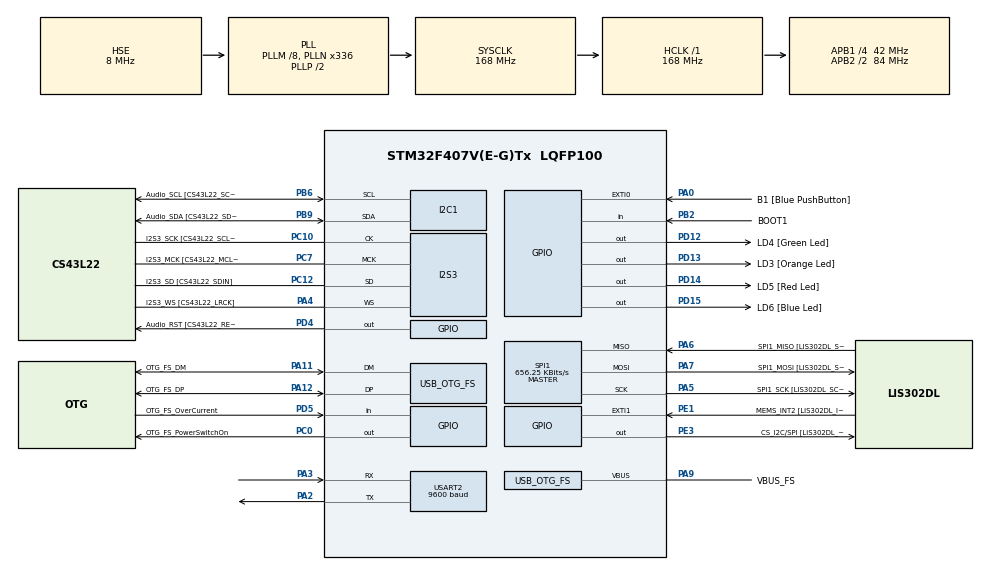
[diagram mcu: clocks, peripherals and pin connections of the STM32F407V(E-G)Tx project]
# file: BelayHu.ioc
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I2C1.OwnAddress=0
I2S3.AudioFreq-Half_Duplex_Master=I2S_AUDIOFREQ_96K
I2S3.ErrorAudioFreq=-2.34 %
I2S3.ErrorAudioFreq-Half_Duplex_Master=0.8 %
I2S3.FullDuplexMode=I2S_FULLDUPLEXMODE_DISABLE
I2S3.Instance=SPI$Index
I2S3.RealAudioFreq=93.75 KHz
I2S3.RealAudioFreq-Half_Duplex_Master=96.774 KHz
I2S3.VirtualMode=I2S_MODE_MASTER
Mcu.Family=STM32F4
Mcu.Name=STM32F407V(E-G)Tx
Mcu.Package=LQFP100
NVIC.OTG_FS_IRQn=true\:0\:0\:false\:false\:true\:true\:true
NVIC.PriorityGroup=NVIC_PRIORITYGROUP_0
PA0-WKUP.GPIO_Label=B1 [Blue PushButton]
PA0-WKUP.GPIO_ModeDefaultEXTI=GPIO_MODE_EVT_RISING
PA0-WKUP.GPIO_PuPd=GPIO_NOPULL
PA0-WKUP.Signal=GPXTI0
PA10.GPIO_Label=OTG_FS_ID
PA10.GPIO_Mode=GPIO_MODE_AF_PP
PA10.GPIO_PuPd=GPIO_NOPULL
PA10.GPIO_Speed=GPIO_SPEED_FREQ_LOW
PA10.Signal=USB_OTG_FS_ID
PA11.GPIO_Label=OTG_FS_DM
PA11.GPIO_Mode=GPIO_MODE_AF_PP
PA11.GPIO_PuPd=GPIO_NOPULL
PA11.GPIO_Speed=GPIO_SPEED_FREQ_LOW
PA11.Mode=Host_Only
PA11.Signal=USB_OTG_FS_DM
PA12.GPIO_Label=OTG_FS_DP
PA12.GPIO_Mode=GPIO_MODE_AF_PP
PA12.GPIO_PuPd=GPIO_NOPULL
PA12.GPIO_Speed=GPIO_SPEED_FREQ_LOW
PA12.Mode=Host_Only
PA12.Signal=USB_OTG_FS_DP
PA13.GPIO_Label=SWDIO
PA13.Mode=Serial_Wire
PA13.Signal=SYS_JTMS-SWDIO
PA14.GPIO_Label=SWCLK
PA14.Mode=Serial_Wire
PA14.Signal=SYS_JTCK-SWCLK
PA2.Mode=Asynchronous
PA2.Signal=USART2_TX
PA3.Mode=Asynchronous
PA3.Signal=USART2_RX
PA4.GPIO_Label=I2S3_WS [CS43L22_LRCK]
PA4.GPIO_Mode=GPIO_MODE_AF_PP
PA4.GPIO_PuPd=GPIO_NOPULL
PA4.GPIO_Speed=GPIO_SPEED_FREQ_LOW
PA4.Mode=Half_Duplex_Master
PA4.Signal=I2S3_WS
PA5.GPIO_Label=SPI1_SCK [LIS302DL_SCL/SPC]
PA5.GPIO_Mode=GPIO_MODE_AF_PP
PA5.GPIO_PuPd=GPIO_NOPULL
PA5.GPIO_Speed=GPIO_SPEED_FREQ_LOW
PA5.Mode=Full_Duplex_Master
PA5.Signal=SPI1_SCK
PA6.GPIO_Label=SPI1_MISO [LIS302DL_SDO]
PA6.GPIO_Mode=GPIO_MODE_AF_PP
PA6.GPIO_PuPd=GPIO_NOPULL
PA6.GPIO_Speed=GPIO_SPEED_FREQ_LOW
PA6.Mode=Full_Duplex_Master
PA6.Signal=SPI1_MISO
PA7.GPIO_Label=SPI1_MOSI [LIS302DL_SDA/SDI/SDO]
PA7.GPIO_Mode=GPIO_MODE_AF_PP
PA7.GPIO_PuPd=GPIO_NOPULL
PA7.GPIO_Speed=GPIO_SPEED_FREQ_LOW
PA7.Mode=Full_Duplex_Master
PA7.Signal=SPI1_MOSI
PA9.GPIO_Label=VBUS_FS
PA9.GPIO_Mode=GPIO_MODE_INPUT
PA9.GPIO_PuPd=GPIO_NOPULL
PA9.Mode=Activate_VBUS
PA9.Signal=USB_OTG_FS_VBUS
PB10.GPIO_Label=CLK_IN [MP45DT02_CLK]
PB10.GPIO_Mode=GPIO_MODE_AF_PP
PB10.GPIO_PuPd=GPIO_NOPULL
PB10.GPIO_Speed=GPIO_SPEED_FREQ_LOW
PB10.Signal=I2S2_CK
PB2.GPIO_Label=BOOT1
PB2.GPIO_Mode=GPIO_MODE_INPUT
PB2.GPIO_PuPd=GPIO_NOPULL
PB2.Signal=GPIO_Input
PB3.GPIO_Label=SWO
PB3.Signal=SYS_JTDO-SWO
PB6.GPIO_Label=Audio_SCL [CS43L22_SCL]
PB6.GPIO_Mode=GPIO_MODE_AF_OD
PB6.GPIO_PuPd=GPIO_NOPULL
PB6.GPIO_PuPdOD=GPIO_PULLUP
PB6.GPIO_Speed=GPIO_SPEED_FREQ_LOW
PB6.Mode=I2C
PB6.Signal=I2C1_SCL
PB9.GPIO_Label=Audio_SDA [CS43L22_SDA]
PB9.GPIO_Mode=GPIO_MODE_AF_OD
PB9.GPIO_PuPd=GPIO_NOPULL
PB9.GPIO_PuPdOD=GPIO_PULLUP
PB9.GPIO_Speed=GPIO_SPEED_FREQ_LOW
PB9.Mode=I2C
PB9.Signal=I2C1_SDA
PC0.GPIO_Label=OTG_FS_PowerSwitchOn
PC0.GPIO_PuPd=GPIO_NOPULL
PC0.GPIO_Speed=GPIO_SPEED_FREQ_LOW
PC0.PinState=GPIO_PIN_SET
PC0.Signal=GPIO_Output
PC10.GPIO_Label=I2S3_SCK [CS43L22_SCLK]
PC10.GPIO_Mode=GPIO_MODE_AF_PP
PC10.GPIO_PuPd=GPIO_NOPULL
PC10.GPIO_Speed=GPIO_SPEED_FREQ_LOW
PC10.Mode=Half_Duplex_Master
PC10.Signal=I2S3_CK
PC12.GPIO_Label=I2S3_SD [CS43L22_SDIN]
PC12.GPIO_Mode=GPIO_MODE_AF_PP
PC12.GPIO_PuPd=GPIO_NOPULL
PC12.GPIO_Speed=GPIO_SPEED_FREQ_LOW
PC12.Mode=Half_Duplex_Master
PC12.Signal=I2S3_SD
PC14-OSC32_IN.GPIO_Label=PC14-OSC32_IN
PC14-OSC32_IN.Mode=LSE-External-Oscillator
PC14-OSC32_IN.Signal=RCC_OSC32_IN
PC15-OSC32_OUT.GPIO_Label=PC15-OSC32_OUT
PC15-OSC32_OUT.Mode=LSE-External-Oscillator
PC15-OSC32_OUT.Signal=RCC_OSC32_OUT
PC3.GPIO_Label=PDM_OUT [MP45DT02_DOUT]
PC3.GPIO_Mode=GPIO_MODE_AF_PP
PC3.GPIO_PuPd=GPIO_NOPULL
PC3.GPIO_Speed=GPIO_SPEED_FREQ_LOW
PC3.Signal=I2S2_SD
PC7.GPIO_Label=I2S3_MCK [CS43L22_MCLK]
PC7.GPIO_Mode=GPIO_MODE_AF_PP
PC7.GPIO_PuPd=GPIO_NOPULL
PC7.GPIO_Speed=GPIO_SPEED_FREQ_LOW
PC7.Mode=Master_Clock_Activated
PC7.Signal=I2S3_MCK
PD12.GPIO_Label=LD4 [Green Led]
PD12.GPIO_PuPd=GPIO_NOPULL
PD12.GPIO_Speed=GPIO_SPEED_FREQ_LOW
PD12.Signal=GPIO_Output
PD13.GPIO_Label=LD3 [Orange Led]
PD13.GPIO_PuPd=GPIO_NOPULL
PD13.GPIO_Speed=GPIO_SPEED_FREQ_LOW
PD13.Signal=GPIO_Output
PD14.GPIO_Label=LD5 [Red Led]
PD14.GPIO_PuPd=GPIO_NOPULL
PD14.GPIO_Speed=GPIO_SPEED_FREQ_LOW
PD14.Signal=GPIO_Output
PD15.GPIO_Label=LD6 [Blue Led]
PD15.GPIO_PuPd=GPIO_NOPULL
PD15.GPIO_Speed=GPIO_SPEED_FREQ_LOW
PD15.Signal=GPIO_Output
PD4.GPIO_Label=Audio_RST [CS43L22_RESET]
PD4.GPIO_PuPd=GPIO_NOPULL
PD4.GPIO_Speed=GPIO_SPEED_FREQ_LOW
PD4.Signal=GPIO_Output
PD5.GPIO_Label=OTG_FS_OverCurrent
PD5.GPIO_Mode=GPIO_MODE_INPUT
PD5.GPIO_PuPd=GPIO_NOPULL
PD5.Signal=GPIO_Input
PE1.GPIO_Label=MEMS_INT2 [LIS302DL_INT2]
PE1.GPIO_ModeDefaultEXTI=GPIO_MODE_EVT_RISING
PE1.GPIO_PuPd=GPIO_NOPULL
PE1.Signal=GPXTI1
PE3.GPIO_Label=CS_I2C/SPI [LIS302DL_CS_I2C/SPI]
PE3.GPIO_PuPd=GPIO_NOPULL
PE3.GPIO_Speed=GPIO_SPEED_FREQ_LOW
PE3.Signal=GPIO_Output
PH0-OSC_IN.GPIO_Label=PH0-OSC_IN
PH0-OSC_IN.Mode=HSE-External-Oscillator
PH0-OSC_IN.Signal=RCC_OSC_IN
PH1-OSC_OUT.GPIO_Label=PH1-OSC_OUT
PH1-OSC_OUT.Mode=HSE-External-Oscillator
PH1-OSC_OUT.Signal=RCC_OSC_OUT
ProjectManager.HeapSize=0x200
ProjectManager.StackSize=0x400
ProjectManager.TargetToolchain=STM32CubeIDE
RCC.48MHZClocksFreq_Value=48000000
RCC.AHBFreq_Value=168000000
RCC.APB1CLKDivider=RCC_HCLK_DIV4
RCC.APB1Freq_Value=42000000
RCC.APB1TimFreq_Value=84000000
RCC.APB2CLKDivider=RCC_HCLK_DIV2
RCC.APB2Freq_Value=84000000
RCC.APB2TimFreq_Value=168000000
RCC.CortexFreq_Value=168000000
RCC.HCLKFreq_Value=168000000
RCC.HSE_VALUE=8000000
RCC.HSI_VALUE=16000000
RCC.PLLM=8
RCC.PLLN=336
RCC.PLLQ=7
RCC.SYSCLKFreq_VALUE=168000000
RCC.SYSCLKSource=RCC_SYSCLKSOURCE_PLLCLK
RCC.VCOOutputFreq_Value=336000000
SPI1.BaudRatePrescaler=SPI_BAUDRATEPRESCALER_128
SPI1.BaudRatePrescaler-Full_Duplex_Master=SPI_BAUDRATEPRESCALER_2
SPI1.CLKPhase=SPI_PHASE_1EDGE
SPI1.CLKPolarity=SPI_POLARITY_LOW
SPI1.CalculateBaudRate=656.25 KBits/s
SPI1.CalculateBaudRate-Full_Duplex_Master=42.0 MBits/s
SPI1.Direction=SPI_DIRECTION_2LINES
SPI1.Mode=SPI_MODE_MASTER
SPI1.Mode-Full_Duplex_Master=SPI_MODE_MASTER
SPI1.VirtualType=VM_MASTER
TIM14.Prescaler=8000-1
TIM6.Prescaler=8400-1
USART2.BaudRate=9600
USART2.VirtualMode=VM_ASYNC
USB_HOST.BSP.number=1
USB_HOST.USBH_HandleTypeDef-CDC_FS=hUsbHostFS
USB_HOST.VirtualModeFS=Cdc
USB_HOST0.BSP.STBoard=false
USB_HOST0.BSP.api=Unknown
USB_HOST0.BSP.i2caddr=0
USB_HOST0.BSP.i2creg=0
USB_HOST0.BSP.instance=PC0
USB_HOST0.BSP.ip=GPIO
USB_HOST0.BSP.mode=Output
USB_HOST0.BSP.name=Drive_VBUS_FS
USB_HOST0.BSP.solution=PC0
USB_OTG_FS.VirtualMode=Host_Only
USB_OTG_FS.phy_itface=HCD_PHY_EMBEDDED
VP_TIM14_VS_ClockSourceINT.Mode=Enable_Timer
VP_TIM6_VS_ClockSourceINT.Mode=Enable_Timer
VP_USB_HOST_VS_USB_HOST_CDC_FS.Mode=CDC_FS
board=STM32F407G-DISC1

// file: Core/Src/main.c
/* USER CODE BEGIN Header */

/*
 * BelayHu STM
 * Nick Righi, Jacob Gervais
 */

/**
  ******************************************************************************
  * @file           : main.c
  * @brief          : Main program body
  ******************************************************************************
  * @attention
  *
  * <h2><center>&copy; Copyright (c) 2021 STMicroelectronics.
  * All rights reserved.</center></h2>
  *
  * This software component is licensed by ST under Ultimate Liberty license
  * SLA0044, the "License"; You may not use this file except in compliance with
  * the License. You may obtain a copy of the License at:
  *                             www.st.com/SLA0044
  *
  ******************************************************************************
  */
/* USER CODE END Header */
#include "main.h"
#include "usb_host.h"

/* USER CODE BEGIN Includes */
#include <stdio.h>
#include <stdlib.h>
#include <string.h>
#include "accel_data.h"
#include "printf.h"
/* USER CODE END Includes */

I2C_HandleTypeDef hi2c1;

I2S_HandleTypeDef hi2s3;

SPI_HandleTypeDef hspi1;

TIM_HandleTypeDef htim6;
TIM_HandleTypeDef htim14;

UART_HandleTypeDef huart2;

void SystemClock_Config(void);
static void MX_GPIO_Init(void);
static void MX_I2C1_Init(void);
static void MX_I2S3_Init(void);
static void MX_SPI1_Init(void);
static void MX_USART2_UART_Init(void);
static void MX_TIM14_Init(void);
static void MX_TIM6_Init(void);
void MX_USB_HOST_Process(void);

int main(void)
{

  /* MCU Configuration--------------------------------------------------------*/

  /* Reset of all peripherals, Initializes the Flash interface and the Systick. */
  HAL_Init();

  /* Configure the system clock */
  SystemClock_Config();

  /* Initialize all configured peripherals */
  MX_GPIO_Init();
  MX_I2C1_Init();
  MX_I2S3_Init();
  MX_SPI1_Init();
  MX_USB_HOST_Init();
  MX_USART2_UART_Init();
  MX_TIM14_Init();
  MX_TIM6_Init();
  /* USER CODE BEGIN 2 */

  HAL_TIM_Base_Start(&htim14);
  HAL_TIM_Base_Start(&htim6);

  struct accel_data data, data2;
  accel_setup(&hspi1, &htim6);

  uint16_t timeStart;
  uint16_t currTime = 0;
  int notSent = 1;

  struct packet data_packet;
  data_packet.header[0] = 0x01;
  data_packet.header[1] = 0x02;

  HAL_GPIO_WritePin(GPIOD, GPIO_PIN_14, GPIO_PIN_RESET);

  /* USER CODE END 2 */

  /* Infinite loop */
  /* USER CODE BEGIN WHILE */
  while (1)
  {
	  // read from on-board accelerometer
	  read_accel_data(&hspi1, &data);

	  // read from GY-521 Module
	  read_data_i2c(&hi2c1, &data2);

	  // average the accelerometer data and get elapsed time
	  data_packet.accel_data = (int16_t) (data.y_data + data2.y_data) / 2;
	  data_packet.time_stamp = get_elapsed_time(&htim6);

	  HAL_UART_Transmit(&huart2, (uint8_t *)&data_packet, sizeof(data_packet), 50);

	  HAL_Delay(10);

	  // Button press Code
	  if (HAL_GPIO_ReadPin(GPIOA, GPIO_PIN_0) == 1) { // if button is pressed set time elapsed
		  currTime = __HAL_TIM_GET_COUNTER(&htim14) - timeStart;
	  }else{
		  timeStart = __HAL_TIM_GET_COUNTER(&htim14); // reset start time
		  currTime = 0;
		  notSent = 1;
		  HAL_GPIO_WritePin(GPIOD, GPIO_PIN_14, GPIO_PIN_RESET); // turn off light
	  }
	  if (currTime > 20000 && notSent) {
		  notSent = 0;
		  struct packet button_packet;
		  button_packet.header[0] = 0x01;
		  button_packet.header[1] = 0x01;
		  button_packet.accel_data   = 0xFF;
		  button_packet.time_stamp = 10;
		  char button_buffer [sizeof(button_packet)];                            // Create a char buffer of right size
		  memcpy(button_buffer, &button_packet, sizeof(button_packet));          // Copy and convert the data
		  HAL_UART_Transmit(&huart2, (uint8_t *)button_buffer, sizeof(button_buffer), 50);
		  HAL_GPIO_WritePin(GPIOD, GPIO_PIN_14, GPIO_PIN_SET);
		  HAL_Delay(10);
	  }

  }
    /* USER CODE END WHILE */
  MX_USB_HOST_Process();

}

void SystemClock_Config(void)
{
  RCC_OscInitTypeDef RCC_OscInitStruct = {0};
  RCC_ClkInitTypeDef RCC_ClkInitStruct = {0};
  RCC_PeriphCLKInitTypeDef PeriphClkInitStruct = {0};

  /** Configure the main internal regulator output voltage
  */
  __HAL_RCC_PWR_CLK_ENABLE();
  __HAL_PWR_VOLTAGESCALING_CONFIG(PWR_REGULATOR_VOLTAGE_SCALE1);
  /** Initializes the RCC Oscillators according to the specified parameters
  * in the RCC_OscInitTypeDef structure.
  */
  RCC_OscInitStruct.OscillatorType = RCC_OSCILLATORTYPE_HSE;
  RCC_OscInitStruct.HSEState = RCC_HSE_ON;
  RCC_OscInitStruct.PLL.PLLState = RCC_PLL_ON;
  RCC_OscInitStruct.PLL.PLLSource = RCC_PLLSOURCE_HSE;
  RCC_OscInitStruct.PLL.PLLM = 8;
  RCC_OscInitStruct.PLL.PLLN = 336;
  RCC_OscInitStruct.PLL.PLLP = RCC_PLLP_DIV2;
  RCC_OscInitStruct.PLL.PLLQ = 7;
  if (HAL_RCC_OscConfig(&RCC_OscInitStruct) != HAL_OK)
  {
    Error_Handler();
  }
  /** Initializes the CPU, AHB and APB buses clocks
  */
  RCC_ClkInitStruct.ClockType = RCC_CLOCKTYPE_HCLK|RCC_CLOCKTYPE_SYSCLK
                              |RCC_CLOCKTYPE_PCLK1|RCC_CLOCKTYPE_PCLK2;
  RCC_ClkInitStruct.SYSCLKSource = RCC_SYSCLKSOURCE_PLLCLK;
  RCC_ClkInitStruct.AHBCLKDivider = RCC_SYSCLK_DIV1;
  RCC_ClkInitStruct.APB1CLKDivider = RCC_HCLK_DIV4;
  RCC_ClkInitStruct.APB2CLKDivider = RCC_HCLK_DIV2;

  if (HAL_RCC_ClockConfig(&RCC_ClkInitStruct, FLASH_LATENCY_5) != HAL_OK)
  {
    Error_Handler();
  }
  PeriphClkInitStruct.PeriphClockSelection = RCC_PERIPHCLK_I2S;
  PeriphClkInitStruct.PLLI2S.PLLI2SN = 192;
  PeriphClkInitStruct.PLLI2S.PLLI2SR = 2;
  if (HAL_RCCEx_PeriphCLKConfig(&PeriphClkInitStruct) != HAL_OK)
  {
    Error_Handler();
  }
}

static void MX_I2C1_Init(void)
{

  hi2c1.Instance = I2C1;
  hi2c1.Init.ClockSpeed = 100000;
  hi2c1.Init.DutyCycle = I2C_DUTYCYCLE_2;
  hi2c1.Init.OwnAddress1 = 0;
  hi2c1.Init.AddressingMode = I2C_ADDRESSINGMODE_7BIT;
  hi2c1.Init.DualAddressMode = I2C_DUALADDRESS_DISABLE;
  hi2c1.Init.OwnAddress2 = 0;
  hi2c1.Init.GeneralCallMode = I2C_GENERALCALL_DISABLE;
  hi2c1.Init.NoStretchMode = I2C_NOSTRETCH_DISABLE;
  if (HAL_I2C_Init(&hi2c1) != HAL_OK)
  {
    Error_Handler();
  }

}

static void MX_I2S3_Init(void)
{

  hi2s3.Instance = SPI3;
  hi2s3.Init.Mode = I2S_MODE_MASTER_TX;
  hi2s3.Init.Standard = I2S_STANDARD_PHILIPS;
  hi2s3.Init.DataFormat = I2S_DATAFORMAT_16B;
  hi2s3.Init.MCLKOutput = I2S_MCLKOUTPUT_ENABLE;
  hi2s3.Init.AudioFreq = I2S_AUDIOFREQ_96K;
  hi2s3.Init.CPOL = I2S_CPOL_LOW;
  hi2s3.Init.ClockSource = I2S_CLOCK_PLL;
  hi2s3.Init.FullDuplexMode = I2S_FULLDUPLEXMODE_DISABLE;
  if (HAL_I2S_Init(&hi2s3) != HAL_OK)
  {
    Error_Handler();
  }

}

static void MX_SPI1_Init(void)
{

  /* SPI1 parameter configuration*/
  hspi1.Instance = SPI1;
  hspi1.Init.Mode = SPI_MODE_MASTER;
  hspi1.Init.Direction = SPI_DIRECTION_2LINES;
  hspi1.Init.DataSize = SPI_DATASIZE_8BIT;
  hspi1.Init.CLKPolarity = SPI_POLARITY_LOW;
  hspi1.Init.CLKPhase = SPI_PHASE_1EDGE;
  hspi1.Init.NSS = SPI_NSS_SOFT;
  hspi1.Init.BaudRatePrescaler = SPI_BAUDRATEPRESCALER_128;
  hspi1.Init.FirstBit = SPI_FIRSTBIT_MSB;
  hspi1.Init.TIMode = SPI_TIMODE_DISABLE;
  hspi1.Init.CRCCalculation = SPI_CRCCALCULATION_DISABLE;
  hspi1.Init.CRCPolynomial = 10;
  if (HAL_SPI_Init(&hspi1) != HAL_OK)
  {
    Error_Handler();
  }

}

static void MX_TIM6_Init(void)
{

  TIM_MasterConfigTypeDef sMasterConfig = {0};

  htim6.Instance = TIM6;
  htim6.Init.Prescaler = 8400-1;
  htim6.Init.CounterMode = TIM_COUNTERMODE_UP;
  htim6.Init.Period = 65535;
  htim6.Init.AutoReloadPreload = TIM_AUTORELOAD_PRELOAD_DISABLE;
  if (HAL_TIM_Base_Init(&htim6) != HAL_OK)
  {
    Error_Handler();
  }
  sMasterConfig.MasterOutputTrigger = TIM_TRGO_RESET;
  sMasterConfig.MasterSlaveMode = TIM_MASTERSLAVEMODE_DISABLE;
  if (HAL_TIMEx_MasterConfigSynchronization(&htim6, &sMasterConfig) != HAL_OK)
  {
    Error_Handler();
  }

}

static void MX_TIM14_Init(void)
{

  htim14.Instance = TIM14;
  htim14.Init.Prescaler = 8000-1;
  htim14.Init.CounterMode = TIM_COUNTERMODE_UP;
  htim14.Init.Period = 65535;
  htim14.Init.ClockDivision = TIM_CLOCKDIVISION_DIV1;
  htim14.Init.AutoReloadPreload = TIM_AUTORELOAD_PRELOAD_DISABLE;
  if (HAL_TIM_Base_Init(&htim14) != HAL_OK)
  {
    Error_Handler();
  }

}

static void MX_USART2_UART_Init(void)
{

  huart2.Instance = USART2;
  huart2.Init.BaudRate = 9600;
  huart2.Init.WordLength = UART_WORDLENGTH_8B;
  huart2.Init.StopBits = UART_STOPBITS_1;
  huart2.Init.Parity = UART_PARITY_NONE;
  huart2.Init.Mode = UART_MODE_TX_RX;
  huart2.Init.HwFlowCtl = UART_HWCONTROL_NONE;
  huart2.Init.OverSampling = UART_OVERSAMPLING_16;
  if (HAL_UART_Init(&huart2) != HAL_OK)
  {
    Error_Handler();
  }

}

static void MX_GPIO_Init(void)
{
  GPIO_InitTypeDef GPIO_InitStruct = {0};

  /* GPIO Ports Clock Enable */
  __HAL_RCC_GPIOE_CLK_ENABLE();
  __HAL_RCC_GPIOC_CLK_ENABLE();
  __HAL_RCC_GPIOH_CLK_ENABLE();
  __HAL_RCC_GPIOA_CLK_ENABLE();
  __HAL_RCC_GPIOB_CLK_ENABLE();
  __HAL_RCC_GPIOD_CLK_ENABLE();

  /*Configure GPIO pin Output Level */
  HAL_GPIO_WritePin(CS_I2C_SPI_GPIO_Port, CS_I2C_SPI_Pin, GPIO_PIN_RESET);

  /*Configure GPIO pin Output Level */
  HAL_GPIO_WritePin(OTG_FS_PowerSwitchOn_GPIO_Port, OTG_FS_PowerSwitchOn_Pin, GPIO_PIN_SET);

  /*Configure GPIO pin Output Level */
  HAL_GPIO_WritePin(GPIOD, LD4_Pin|LD3_Pin|LD5_Pin|LD6_Pin
                          |Audio_RST_Pin, GPIO_PIN_RESET);

  /*Configure GPIO pin : CS_I2C_SPI_Pin */
  GPIO_InitStruct.Pin = CS_I2C_SPI_Pin;
  GPIO_InitStruct.Mode = GPIO_MODE_OUTPUT_PP;
  GPIO_InitStruct.Pull = GPIO_NOPULL;
  GPIO_InitStruct.Speed = GPIO_SPEED_FREQ_LOW;
  HAL_GPIO_Init(CS_I2C_SPI_GPIO_Port, &GPIO_InitStruct);

  /*Configure GPIO pin : OTG_FS_PowerSwitchOn_Pin */
  GPIO_InitStruct.Pin = OTG_FS_PowerSwitchOn_Pin;
  GPIO_InitStruct.Mode = GPIO_MODE_OUTPUT_PP;
  GPIO_InitStruct.Pull = GPIO_NOPULL;
  GPIO_InitStruct.Speed = GPIO_SPEED_FREQ_LOW;
  HAL_GPIO_Init(OTG_FS_PowerSwitchOn_GPIO_Port, &GPIO_InitStruct);

  /*Configure GPIO pin : PDM_OUT_Pin */
  GPIO_InitStruct.Pin = PDM_OUT_Pin;
  GPIO_InitStruct.Mode = GPIO_MODE_AF_PP;
  GPIO_InitStruct.Pull = GPIO_NOPULL;
  GPIO_InitStruct.Speed = GPIO_SPEED_FREQ_LOW;
  GPIO_InitStruct.Alternate = GPIO_AF5_SPI2;
  HAL_GPIO_Init(PDM_OUT_GPIO_Port, &GPIO_InitStruct);

  /*Configure GPIO pin : B1_Pin */
  GPIO_InitStruct.Pin = B1_Pin;
  GPIO_InitStruct.Mode = GPIO_MODE_EVT_RISING;
  GPIO_InitStruct.Pull = GPIO_NOPULL;
  HAL_GPIO_Init(B1_GPIO_Port, &GPIO_InitStruct);

  /*Configure GPIO pin : BOOT1_Pin */
  GPIO_InitStruct.Pin = BOOT1_Pin;
  GPIO_InitStruct.Mode = GPIO_MODE_INPUT;
  GPIO_InitStruct.Pull = GPIO_NOPULL;
  HAL_GPIO_Init(BOOT1_GPIO_Port, &GPIO_InitStruct);

  /*Configure GPIO pin : CLK_IN_Pin */
  GPIO_InitStruct.Pin = CLK_IN_Pin;
  GPIO_InitStruct.Mode = GPIO_MODE_AF_PP;
  GPIO_InitStruct.Pull = GPIO_NOPULL;
  GPIO_InitStruct.Speed = GPIO_SPEED_FREQ_LOW;
  GPIO_InitStruct.Alternate = GPIO_AF5_SPI2;
  HAL_GPIO_Init(CLK_IN_GPIO_Port, &GPIO_InitStruct);

  /*Configure GPIO pins : LD4_Pin LD3_Pin LD5_Pin LD6_Pin
                           Audio_RST_Pin */
  GPIO_InitStruct.Pin = LD4_Pin|LD3_Pin|LD5_Pin|LD6_Pin
                          |Audio_RST_Pin;
  GPIO_InitStruct.Mode = GPIO_MODE_OUTPUT_PP;
  GPIO_InitStruct.Pull = GPIO_NOPULL;
  GPIO_InitStruct.Speed = GPIO_SPEED_FREQ_LOW;
  HAL_GPIO_Init(GPIOD, &GPIO_InitStruct);

  /*Configure GPIO pin : OTG_FS_OverCurrent_Pin */
  GPIO_InitStruct.Pin = OTG_FS_OverCurrent_Pin;
  GPIO_InitStruct.Mode = GPIO_MODE_INPUT;
  GPIO_InitStruct.Pull = GPIO_NOPULL;
  HAL_GPIO_Init(OTG_FS_OverCurrent_GPIO_Port, &GPIO_InitStruct);

  /*Configure GPIO pin : MEMS_INT2_Pin */
  GPIO_InitStruct.Pin = MEMS_INT2_Pin;
  GPIO_InitStruct.Mode = GPIO_MODE_EVT_RISING;
  GPIO_InitStruct.Pull = GPIO_NOPULL;
  HAL_GPIO_Init(MEMS_INT2_GPIO_Port, &GPIO_InitStruct);

}

void Error_Handler(void)
{
  __disable_irq();
  while (1)
  {
  }
}

/************************ (C) COPYRIGHT STMicroelectronics *****END OF FILE****/
